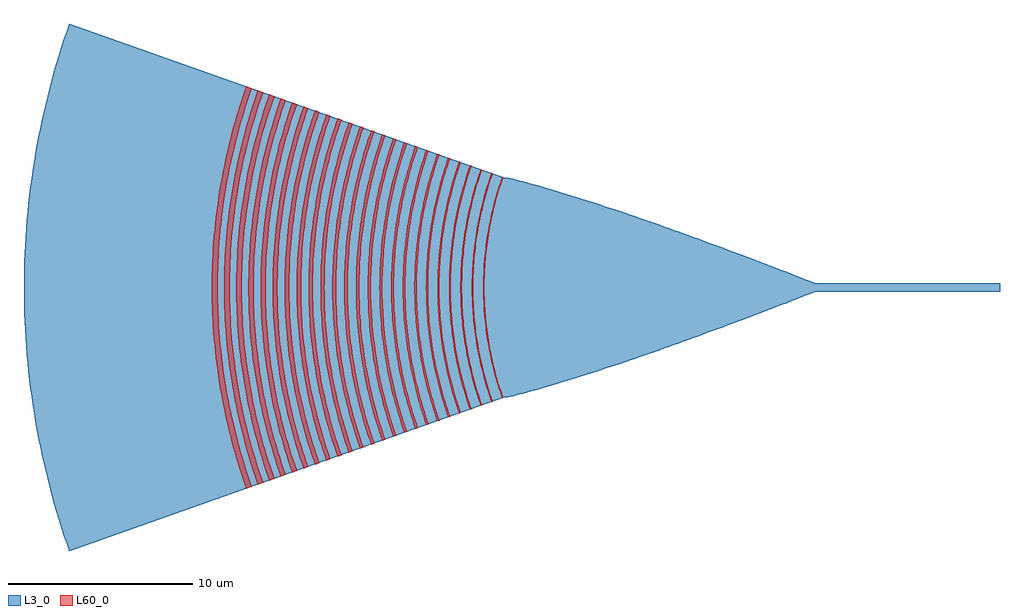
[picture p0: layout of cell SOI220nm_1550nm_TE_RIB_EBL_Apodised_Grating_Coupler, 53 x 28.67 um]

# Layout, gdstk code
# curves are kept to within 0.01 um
import gdstk
lib = gdstk.Library(unit=1e-6, precision=1e-09)
def P(c, l, *ps):  # polygons
    for p in ps: c.add(gdstk.Polygon(p, *l))
L3_0 = (3, 0)
L60_0 = (60, 0)

soi220nm_1550nm_te_rib_e = lib.new_cell('SOI220nm_1550nm_TE_RIB_EBL_Apodised_Grating_Coupler')
P(soi220nm_1550nm_te_rib_e, L3_0, [(-24.039,-14.333),(-24.335,-13.469),(-24.611,-12.598),(-24.87,-11.722),(-25.109,-10.841),(-25.532,-9.064),(-25.879,-7.271),(-26.15,-5.465),(-26.343,-3.648),(-26.46,-1.826),(-26.499,0),(-26.46,1.826),(-26.343,3.648),(-26.15,5.465),(-25.879,7.271),(-25.532,9.064),(-25.109,10.841),(-24.87,11.722),(-24.611,12.598),(-24.335,13.469),(-24.039,14.333),(-0.47,6),(0.06,5.892),(0.856,5.692),(2.712,5.157),(4.833,4.484),(7.22,3.676),(9.076,3.02),(11.462,2.148),(14.379,1.047),(16.501,0.224),(26.5,0.225),(26.5,-0.225),(16.501,-0.224),(14.379,-1.047),(11.462,-2.148),(9.076,-3.02),(7.22,-3.676),(4.833,-4.484),(2.712,-5.157),(0.856,-5.692),(0.06,-5.892),(-0.47,-6)])
P(soi220nm_1550nm_te_rib_e, L60_0, [(-0.527,-6.02),(-0.768,-5.291),(-0.977,-4.553),(-1.154,-3.807),(-1.3,-3.054),(-1.414,-2.295),(-1.495,-1.532),(-1.543,-0.766),(-1.559,0),(-1.543,0.766),(-1.495,1.532),(-1.414,2.295),(-1.3,3.054),(-1.154,3.807),(-0.977,4.553),(-0.768,5.291),(-0.527,6.02),(-0.47,6),(-0.71,5.273),(-0.918,4.538),(-1.095,3.794),(-1.172,3.419),(-1.272,2.855),(-1.354,2.287),(-1.435,1.527),(-1.483,0.764),(-1.499,0),(-1.483,-0.764),(-1.435,-1.527),(-1.354,-2.287),(-1.272,-2.855),(-1.172,-3.419),(-1.095,-3.794),(-0.918,-4.538),(-0.71,-5.273),(-0.47,-6)],
  [(-1.11,-6.226),(-1.359,-5.472),(-1.574,-4.709),(-1.758,-3.937),(-1.908,-3.158),(-2.026,-2.373),(-2.11,-1.585),(-2.161,-0.793),(-2.177,0),(-2.161,0.793),(-2.11,1.585),(-2.026,2.373),(-1.908,3.158),(-1.758,3.937),(-1.574,4.709),(-1.359,5.472),(-1.11,6.226),(-1.043,6.202),(-1.291,5.452),(-1.554,4.5),(-1.729,3.729),(-1.871,2.951),(-1.98,2.168),(-2.055,1.382),(-2.09,0.79),(-2.106,0),(-2.09,-0.79),(-2.055,-1.382),(-1.98,-2.168),(-1.871,-2.951),(-1.729,-3.729),(-1.554,-4.5),(-1.291,-5.452),(-1.043,-6.202)],
  [(-1.694,-6.433),(-1.951,-5.654),(-2.174,-4.865),(-2.364,-4.068),(-2.52,-3.263),(-2.641,-2.452),(-2.728,-1.637),(-2.78,-0.819),(-2.798,0),(-2.78,0.819),(-2.728,1.637),(-2.641,2.452),(-2.52,3.263),(-2.364,4.068),(-2.174,4.865),(-1.951,5.654),(-1.694,6.433),(-1.617,6.405),(-1.873,5.63),(-2.146,4.647),(-2.326,3.851),(-2.473,3.048),(-2.585,2.239),(-2.647,1.63),(-2.699,0.816),(-2.716,0),(-2.699,-0.816),(-2.647,-1.63),(-2.585,-2.239),(-2.473,-3.048),(-2.326,-3.851),(-2.146,-4.647),(-1.873,-5.63),(-1.617,-6.405)],
  [(-2.28,-6.64),(-2.546,-5.836),(-2.776,-5.022),(-2.972,-4.199),(-3.133,-3.368),(-3.258,-2.531),(-3.348,-1.69),(-3.402,-0.845),(-3.42,0),(-3.402,0.845),(-3.348,1.69),(-3.258,2.531),(-3.133,3.368),(-2.972,4.199),(-2.776,5.022),(-2.546,5.836),(-2.28,6.64),(-2.194,6.609),(-2.457,5.809),(-2.687,4.999),(-2.882,4.18),(-3.077,3.145),(-3.193,2.311),(-3.273,1.472),(-3.318,0.631),(-3.328,0),(-3.318,-0.631),(-3.273,-1.472),(-3.193,-2.311),(-3.077,-3.145),(-2.882,-4.18),(-2.687,-4.999),(-2.457,-5.809),(-2.194,-6.609)],
  [(-2.869,-6.848),(-3.142,-6.019),(-3.38,-5.18),(-3.582,-4.331),(-3.748,-3.474),(-3.877,-2.611),(-3.97,-1.743),(-4.025,-0.872),(-4.044,0),(-4.025,0.872),(-3.97,1.743),(-3.877,2.611),(-3.748,3.474),(-3.582,4.331),(-3.38,5.18),(-3.142,6.019),(-2.869,6.848),(-2.772,6.814),(-3.107,5.781),(-3.334,4.943),(-3.569,3.884),(-3.716,3.028),(-3.802,2.382),(-3.885,1.518),(-3.923,0.868),(-3.941,0),(-3.923,-0.868),(-3.885,-1.518),(-3.802,-2.382),(-3.716,-3.028),(-3.569,-3.884),(-3.334,-4.943),(-3.107,-5.781),(-2.772,-6.814)],
  [(-3.459,-7.057),(-3.741,-6.203),(-3.986,-5.337),(-4.194,-4.463),(-4.365,-3.58),(-4.498,-2.69),(-4.594,-1.796),(-4.651,-0.899),(-4.67,0),(-4.651,0.899),(-4.594,1.796),(-4.498,2.69),(-4.365,3.58),(-4.194,4.463),(-3.986,5.337),(-3.741,6.203),(-3.459,7.057),(-3.352,7.019),(-3.632,6.169),(-3.876,5.309),(-4.083,4.439),(-4.29,3.34),(-4.386,2.676),(-4.481,1.786),(-4.538,0.894),(-4.557,0),(-4.538,-0.894),(-4.481,-1.786),(-4.386,-2.676),(-4.29,-3.34),(-4.083,-4.439),(-3.876,-5.309),(-3.632,-6.169),(-3.352,-7.019)],
  [(-4.051,-7.266),(-4.341,-6.387),(-4.594,-5.496),(-4.808,-4.595),(-4.984,-3.686),(-5.121,-2.77),(-5.219,-1.849),(-5.278,-0.925),(-5.298,0),(-5.278,0.925),(-5.219,1.849),(-5.121,2.77),(-4.984,3.686),(-4.808,4.595),(-4.594,5.496),(-4.341,6.387),(-4.051,7.266),(-3.934,7.225),(-4.223,6.35),(-4.53,5.241),(-4.779,4.118),(-4.935,3.21),(-5.052,2.297),(-5.114,1.609),(-5.163,0.69),(-5.174,0),(-5.163,-0.69),(-5.114,-1.609),(-5.052,-2.297),(-4.935,-3.21),(-4.779,-4.118),(-4.53,-5.241),(-4.223,-6.35),(-3.934,-7.225)],
  [(-4.645,-7.476),(-4.944,-6.571),(-5.204,-5.655),(-5.424,-4.728),(-5.605,-3.792),(-5.746,-2.85),(-5.847,-1.903),(-5.908,-0.952),(-5.928,0),(-5.908,0.952),(-5.847,1.903),(-5.746,2.85),(-5.605,3.792),(-5.424,4.728),(-5.204,5.655),(-4.944,6.571),(-4.645,7.476),(-4.518,7.431),(-4.815,6.532),(-5.131,5.391),(-5.341,4.468),(-5.547,3.302),(-5.641,2.598),(-5.731,1.655),(-5.782,0.71),(-5.793,0),(-5.782,-0.71),(-5.731,-1.655),(-5.641,-2.598),(-5.547,-3.302),(-5.341,-4.468),(-5.131,-5.391),(-4.815,-6.532),(-4.518,-7.431)],
  [(-5.241,-7.687),(-5.548,-6.756),(-5.815,-5.814),(-6.042,-4.861),(-6.228,-3.899),(-6.373,-2.931),(-6.477,-1.956),(-6.54,-0.979),(-6.56,0),(-6.54,0.979),(-6.477,1.956),(-6.373,2.931),(-6.228,3.899),(-6.042,4.861),(-5.815,5.814),(-5.548,6.756),(-5.241,7.687),(-5.104,7.638),(-5.408,6.714),(-5.734,5.541),(-5.997,4.353),(-6.161,3.394),(-6.258,2.67),(-6.351,1.701),(-6.393,0.973),(-6.414,0),(-6.393,-0.973),(-6.351,-1.701),(-6.258,-2.67),(-6.161,-3.394),(-5.997,-4.353),(-5.734,-5.541),(-5.478,-6.481),(-5.104,-7.638)],
  [(-5.839,-7.898),(-6.155,-6.942),(-6.429,-5.974),(-6.662,-4.995),(-6.853,-4.007),(-7.002,-3.011),(-7.109,-2.01),(-7.173,-1.006),(-7.195,0),(-7.173,1.006),(-7.109,2.01),(-7.002,3.011),(-6.853,4.007),(-6.662,4.995),(-6.429,5.974),(-6.155,6.942),(-5.839,7.898),(-5.691,7.846),(-6.076,6.657),(-6.338,5.692),(-6.56,4.717),(-6.777,3.486),(-6.905,2.495),(-6.972,1.748),(-7.016,0.999),(-7.037,0),(-7.016,-0.999),(-6.972,-1.748),(-6.905,-2.495),(-6.777,-3.486),(-6.56,-4.717),(-6.338,-5.692),(-6.076,-6.657),(-5.691,-7.846)],
  [(-6.439,-8.11),(-6.763,-7.129),(-7.045,-6.134),(-7.284,-5.129),(-7.48,-4.114),(-7.634,-3.092),(-7.743,-2.064),(-7.809,-1.033),(-7.831,0),(-7.809,1.033),(-7.743,2.064),(-7.634,3.092),(-7.48,4.114),(-7.284,5.129),(-7.045,6.134),(-6.763,7.129),(-6.439,8.11),(-6.28,8.054),(-6.676,6.834),(-6.945,5.843),(-7.172,4.842),(-7.396,3.579),(-7.498,2.816),(-7.596,1.794),(-7.65,0.769),(-7.662,0),(-7.65,-0.769),(-7.596,-1.794),(-7.498,-2.816),(-7.396,-3.579),(-7.172,-4.842),(-6.945,-5.843),(-6.676,-6.834),(-6.28,-8.054)],
  [(-7.041,-8.323),(-7.373,-7.316),(-7.663,-6.295),(-7.908,-5.263),(-8.11,-4.222),(-8.267,-3.173),(-8.379,-2.118),(-8.447,-1.06),(-8.469,0),(-8.447,1.06),(-8.379,2.118),(-8.267,3.173),(-8.11,4.222),(-7.908,5.263),(-7.663,6.295),(-7.373,7.316),(-7.041,8.323),(-6.872,8.263),(-7.277,7.011),(-7.553,5.995),(-7.838,4.71),(-8.016,3.672),(-8.15,2.627),(-8.221,1.841),(-8.277,0.789),(-8.289,0),(-8.277,-0.789),(-8.221,-1.841),(-8.15,-2.627),(-8.016,-3.672),(-7.838,-4.71),(-7.553,-5.995),(-7.277,-7.011),(-6.872,-8.263)],
  [(-7.645,-8.537),(-7.986,-7.503),(-8.282,-6.457),(-8.534,-5.399),(-8.741,-4.33),(-8.902,-3.255),(-9.018,-2.173),(-9.087,-1.087),(-9.11,0),(-9.087,1.087),(-9.018,2.173),(-8.902,3.255),(-8.741,4.33),(-8.534,5.399),(-8.282,6.457),(-7.986,7.503),(-7.645,8.537),(-7.465,8.473),(-7.881,7.189),(-8.164,6.147),(-8.403,5.094),(-8.638,3.765),(-8.775,2.694),(-8.848,1.887),(-8.906,0.809),(-8.918,0),(-8.906,-0.809),(-8.848,-1.887),(-8.775,-2.694),(-8.638,-3.765),(-8.403,-5.094),(-8.164,-6.147),(-7.881,-7.189),(-7.465,-8.473)],
  [(-8.251,-8.751),(-8.6,-7.692),(-8.904,-6.619),(-9.163,-5.534),(-9.375,-4.439),(-9.54,-3.336),(-9.658,-2.227),(-9.729,-1.114),(-9.753,0),(-9.729,1.114),(-9.658,2.227),(-9.54,3.336),(-9.375,4.439),(-9.163,5.534),(-8.904,6.619),(-8.6,7.692),(-8.251,8.751),(-8.06,8.683),(-8.486,7.367),(-8.776,6.3),(-9.075,4.949),(-9.262,3.858),(-9.403,2.761),(-9.478,1.934),(-9.526,1.106),(-9.55,0),(-9.526,-1.106),(-9.478,-1.934),(-9.403,-2.761),(-9.262,-3.858),(-9.075,-4.949),(-8.776,-6.3),(-8.486,-7.367),(-8.06,-8.683)],
  [(-8.859,-8.966),(-9.217,-7.881),(-9.529,-6.781),(-9.793,-5.67),(-10.01,-4.548),(-10.179,-3.418),(-10.3,-2.282),(-10.373,-1.142),(-10.398,0),(-10.373,1.142),(-10.3,2.282),(-10.179,3.418),(-10.01,4.548),(-9.793,5.67),(-9.529,6.781),(-9.217,7.881),(-8.859,8.966),(-8.657,8.894),(-9.012,7.818),(-9.391,6.453),(-9.697,5.069),(-9.888,3.952),(-10.001,3.11),(-10.109,1.981),(-10.159,1.133),(-10.183,0),(-10.159,-1.133),(-10.109,-1.981),(-10.001,-3.11),(-9.888,-3.952),(-9.697,-5.069),(-9.391,-6.453),(-9.012,-7.818),(-8.657,-8.894)],
  [(-9.469,-9.181),(-9.836,-8.07),(-10.155,-6.945),(-10.426,-5.806),(-10.648,-4.658),(-10.821,-3.5),(-10.945,-2.337),(-11.02,-1.169),(-11.045,0),(-11.02,1.169),(-10.945,2.337),(-10.821,3.5),(-10.648,4.658),(-10.426,5.806),(-10.155,6.945),(-9.836,8.07),(-9.469,9.181),(-9.256,9.106),(-9.703,7.726),(-10.007,6.606),(-10.264,5.475),(-10.517,4.046),(-10.632,3.184),(-10.743,2.029),(-10.804,0.87),(-10.818,0),(-10.804,-0.87),(-10.743,-2.029),(-10.632,-3.184),(-10.517,-4.046),(-10.264,-5.475),(-10.007,-6.606),(-9.703,-7.726),(-9.256,-9.106)],
  [(-10.081,-9.398),(-10.457,-8.261),(-10.783,-7.108),(-11.06,-5.943),(-11.288,-4.767),(-11.465,-3.583),(-11.592,-2.392),(-11.668,-1.197),(-11.694,0),(-11.668,1.197),(-11.592,2.392),(-11.465,3.583),(-11.288,4.767),(-11.06,5.943),(-10.783,7.108),(-10.457,8.261),(-10.081,9.398),(-9.857,9.318),(-10.314,7.906),(-10.626,6.76),(-10.946,5.311),(-11.147,4.141),(-11.265,3.258),(-11.378,2.076),(-11.43,1.187),(-11.455,0),(-11.43,-1.187),(-11.378,-2.076),(-11.298,-2.963),(-11.147,-4.141),(-10.946,-5.311),(-10.626,-6.76),(-10.314,-7.906),(-9.857,-9.318)],
  [(-10.696,-9.615),(-11.079,-8.451),(-11.414,-7.273),(-11.697,-6.081),(-11.93,-4.878),(-12.112,-3.666),(-12.241,-2.447),(-12.319,-1.225),(-12.345,0),(-12.319,1.225),(-12.241,2.447),(-12.112,3.666),(-11.93,4.878),(-11.697,6.081),(-11.414,7.273),(-11.079,8.451),(-10.696,9.615),(-10.459,9.531),(-10.656,8.957),(-10.927,8.087),(-11.318,6.62),(-11.574,5.433),(-11.823,3.935),(-11.934,3.031),(-12.037,1.82),(-12.08,0.91),(-12.095,0),(-12.08,-0.91),(-12.037,-1.82),(-11.934,-3.031),(-11.823,-3.935),(-11.574,-5.433),(-11.318,-6.62),(-10.927,-8.087),(-10.656,-8.957),(-10.459,-9.531)],
  [(-11.312,-9.833),(-11.705,-8.643),(-12.046,-7.437),(-12.336,-6.218),(-12.574,-4.988),(-12.76,-3.749),(-12.893,-2.503),(-12.973,-1.252),(-12.999,0),(-12.973,1.252),(-12.893,2.503),(-12.76,3.749),(-12.574,4.988),(-12.336,6.218),(-12.046,7.437),(-11.705,8.643),(-11.312,9.833),(-11.064,9.745),(-11.543,8.269),(-11.869,7.07),(-12.204,5.555),(-12.414,4.331),(-12.572,3.099),(-12.656,2.171),(-12.722,0.931),(-12.737,0),(-12.722,-0.931),(-12.656,-2.171),(-12.572,-3.099),(-12.414,-4.331),(-12.204,-5.555),(-11.869,-7.07),(-11.543,-8.269),(-11.064,-9.745)],
  [(-11.931,-10.052),(-12.332,-8.835),(-12.681,-7.603),(-12.978,-6.357),(-13.221,-5.099),(-13.411,-3.832),(-13.547,-2.559),(-13.628,-1.28),(-13.655,0),(-13.628,1.28),(-13.547,2.559),(-13.411,3.832),(-13.221,5.099),(-12.978,6.357),(-12.681,7.603),(-12.332,8.835),(-11.931,10.052),(-11.671,9.96),(-12.069,8.755),(-12.493,7.226),(-12.709,6.299),(-12.836,5.677),(-13.051,4.426),(-13.177,3.482),(-13.298,2.219),(-13.365,0.951),(-13.38,0),(-13.365,-0.951),(-13.298,-2.219),(-13.177,-3.482),(-13.051,-4.426),(-12.836,-5.677),(-12.709,-6.299),(-12.493,-7.226),(-12.069,-8.755),(-11.671,-9.96)],
  [(-12.551,-10.271),(-12.961,-9.028),(-13.318,-7.769),(-13.621,-6.496),(-13.87,-5.21),(-14.064,-3.916),(-14.203,-2.614),(-14.286,-1.308),(-14.314,0),(-14.286,1.308),(-14.203,2.614),(-14.064,3.916),(-13.87,5.21),(-13.621,6.496),(-13.318,7.769),(-12.961,9.028),(-12.551,10.271),(-12.28,10.175),(-12.687,8.944),(-12.957,8.01),(-13.12,7.382),(-13.407,6.118),(-13.587,5.162),(-13.69,4.522),(-13.818,3.558),(-13.942,2.267),(-13.999,1.296),(-14.026,0),(-13.999,-1.296),(-13.942,-2.267),(-13.818,-3.558),(-13.69,-4.522),(-13.587,-5.162),(-13.407,-6.118),(-13.12,-7.382),(-12.957,-8.01),(-12.687,-8.944),(-12.28,-10.175)],
  [(-13.174,-10.491),(-13.593,-9.222),(-13.958,-7.935),(-14.267,-6.635),(-14.521,-5.322),(-14.719,-4),(-14.861,-2.67),(-14.946,-1.336),(-14.975,0),(-14.946,1.336),(-14.861,2.67),(-14.719,4),(-14.521,5.322),(-14.267,6.635),(-13.958,7.935),(-13.593,9.222),(-13.174,10.491),(-12.892,10.391),(-13.106,9.765),(-13.402,8.817),(-13.749,7.539),(-13.974,6.572),(-14.107,5.923),(-14.226,5.271),(-14.378,4.29),(-14.499,3.304),(-14.611,1.985),(-14.659,0.993),(-14.675,0),(-14.659,-0.993),(-14.611,-1.985),(-14.499,-3.304),(-14.378,-4.29),(-14.226,-5.271),(-14.107,-5.923),(-13.974,-6.572),(-13.749,-7.539),(-13.402,-8.817),(-13.106,-9.765),(-12.892,-10.391)],
  [(-13.8,-10.712),(-14.227,-9.416),(-14.599,-8.103),(-14.915,-6.775),(-15.175,-5.434),(-15.377,-4.084),(-15.522,-2.727),(-15.609,-1.364),(-15.638,0),(-15.609,1.364),(-15.522,2.727),(-15.377,4.084),(-15.175,5.434),(-14.915,6.775),(-14.599,8.103),(-14.227,9.416),(-13.8,10.712),(-13.505,10.608),(-13.723,9.969),(-14.026,9.001),(-14.297,8.024),(-14.46,7.368),(-14.61,6.709),(-14.808,5.714),(-15.022,4.379),(-15.146,3.373),(-15.237,2.363),(-15.309,1.013),(-15.325,0),(-15.309,-1.013),(-15.237,-2.363),(-15.146,-3.373),(-15.022,-4.379),(-14.808,-5.714),(-14.61,-6.709),(-14.46,-7.368),(-14.297,-8.024),(-14.026,-9.001),(-13.723,-9.969),(-13.505,-10.608)],
  [(-14.427,-10.934),(-14.863,-9.611),(-15.243,-8.27),(-15.566,-6.915),(-15.831,-5.547),(-16.037,-4.169),(-16.185,-2.783),(-16.274,-1.393),(-16.303,0),(-16.274,1.393),(-16.185,2.783),(-16.037,4.169),(-15.831,5.547),(-15.566,6.915),(-15.243,8.27),(-14.863,9.611),(-14.427,10.934),(-14.12,10.826),(-14.343,10.173),(-14.652,9.185),(-15.014,7.854),(-15.248,6.846),(-15.386,6.17),(-15.51,5.492),(-15.669,4.469),(-15.795,3.442),(-15.912,2.068),(-15.961,1.034),(-15.978,0),(-15.961,-1.034),(-15.912,-2.068),(-15.795,-3.442),(-15.669,-4.469),(-15.51,-5.492),(-15.386,-6.17),(-15.248,-6.846),(-15.014,-7.854),(-14.652,-9.185),(-14.343,-10.173),(-14.12,-10.826)])

lib.write_gds('SOI220nm_1550nm_TE_RIB_EBL_Apodised_Grating_Coupler.gds')
